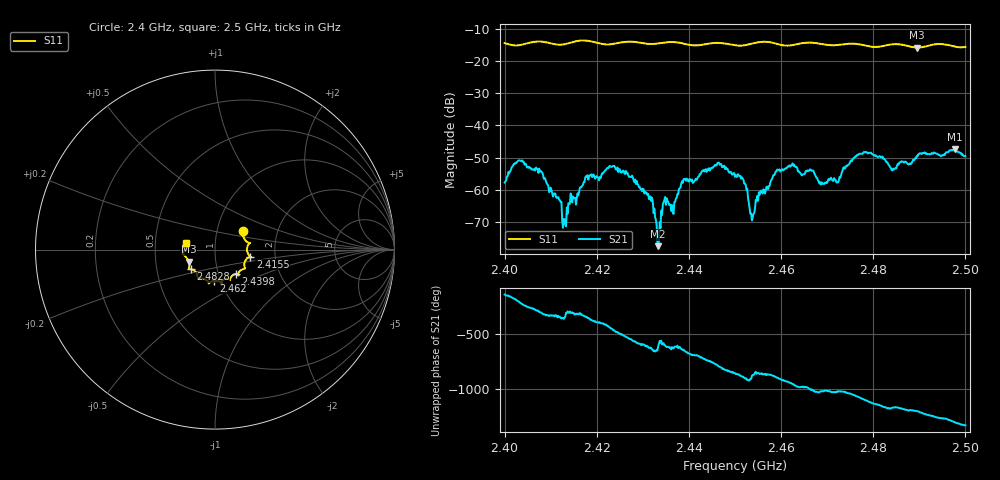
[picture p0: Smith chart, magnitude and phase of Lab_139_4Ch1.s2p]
# Hz S RI R 50
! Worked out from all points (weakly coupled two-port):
!   601 points, 2.4 GHz to 2.5 GHz, reference 50 ohm
!   highest |S21| = -47.35 dB at 2.4977 GHz (marker M1); lowest = -77.4 dB at 2.4333 GHz (marker M2)
!   lowest |S11| = -15.9 dB at 2.4895 GHz (marker M3), VSWR 1.38, Z = 37 - j5.06 ohm
!   |S11| at or under -10 dB: start of sweep to end of sweep
!   S12 and S22 are empty: the file has one direction only
!   S11 on the Smith chart (normalised r, x): 2.4 GHz: 1.33, +0.29; 2.4155 GHz: 1.49, -0.12; 2.4398 GHz: 1.21, -0.34; 2.462 GHz: 0.93, -0.33; 2.4828 GHz: 0.74, -0.17; 2.5 GHz: 0.72, +0.06
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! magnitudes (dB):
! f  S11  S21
! 2.4 GHz  -14.5  -57.7
! 2.4032 GHz  -15.1  -50.8
! 2.4073 GHz  -14.0  -54.7
! 2.413 GHz  -14.9  -69.2
! 2.4155 GHz  -13.9  -64.5
! 2.4167 GHz  -13.7  -59.2
! 2.4262 GHz  -14.1  -55.1
! 2.4317 GHz  -14.8  -62.0
! 2.4333 GHz  -14.6  -77.4
! 2.4348 GHz  -14.3  -62.2
! 2.4398 GHz  -15.0  -56.8
! 2.45 GHz  -15.2  -55.9
! 2.4538 GHz  -14.6  -68.6
! 2.462 GHz  -15.2  -52.8
! 2.4667 GHz  -14.4  -54.1
! 2.4692 GHz  -14.9  -58.1
! 2.4775 GHz  -15.0  -48.8
! 2.4828 GHz  -15.2  -51.4
! 2.4833 GHz  -15.0  -52.2
! 2.4895 GHz  -15.9  -49.4
! 2.4977 GHz  -15.6  -47.3
! 2.5 GHz  -15.7  -49.5
